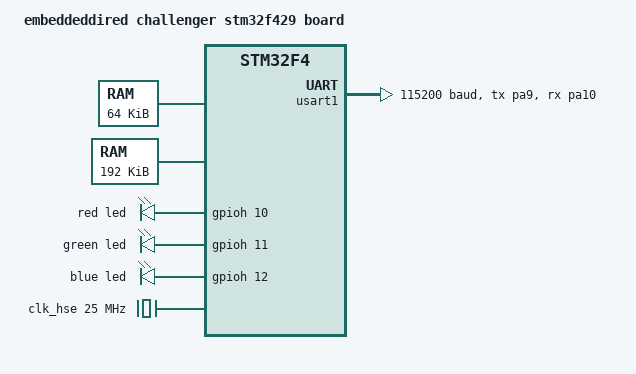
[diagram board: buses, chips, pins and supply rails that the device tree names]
/dts-v1/;
#include <st/f4/stm32f4.dtsi>
#include <st/f4/stm32f429i(e-g)tx-pinctrl.dtsi>
#include <mem.h>

/ {
    model = "embeddeddired challenger stm32f429 board";
    compatible = "embeddeddired,challenger";

	ccm0: memory@10000000 {
		compatible = "zephyr,memory-region", "st,stm32-ccm";
		reg = <0x10000000 DT_SIZE_K(64)>;
		zephyr,memory-region = "CCM";
	};

	sram0: memory@20000000 {
		reg = <0x20000000 DT_SIZE_K(192)>;
	};

	soc {
		flash-controller@40023c00 {
			flash0: flash@8000000 {
				reg = <0x08000000 DT_SIZE_K(2048)>;
			};
		};
	};

    chosen {
        zephyr,console = &usart1;
        zephyr,shell-uart = &usart1;
        zephyr,sram = &sram0;
        zephyr,flash = &flash0;
        zephyr,ccm = &ccm0;
    };

    leds {
        compatible = "gpio-leds";
        red_led: led_0 {
            gpios = <&gpioh 10 GPIO_ACTIVE_HIGH>;
			label = "red led";
        };
        green_led: led_1 {
            gpios = <&gpioh 11 GPIO_ACTIVE_HIGH>;
			label = "green led";
        };
        blue_led: led_2 {
            gpios = <&gpioh 12 GPIO_ACTIVE_HIGH>;
			label = "blue led";
        };
    };

    aliases {
        led0 = &red_led;
        led1 = &green_led;
        led2 = &blue_led;
    };

};

&clk_lsi {
	status = "okay";
};

&clk_hse {
	clock-frequency = <DT_FREQ_M(25)>;
	status = "okay";
};

&pll {
	div-m = <15>;
	mul-n = <216>;
	div-p = <2>;
	div-q = <4>;
	clocks = <&clk_hse>;
	status = "okay";
};

&rcc {
	clocks = <&pll>;
	clock-frequency = <DT_FREQ_M(180)>;
	ahb-prescaler = <1>;
	apb1-prescaler = <4>;
	apb2-prescaler = <2>;
};

&usart1 {
	pinctrl-0 = <&usart1_tx_pa9 &usart1_rx_pa10>;
	pinctrl-names = "default";
	current-speed = <115200>;
	status = "okay";
};
